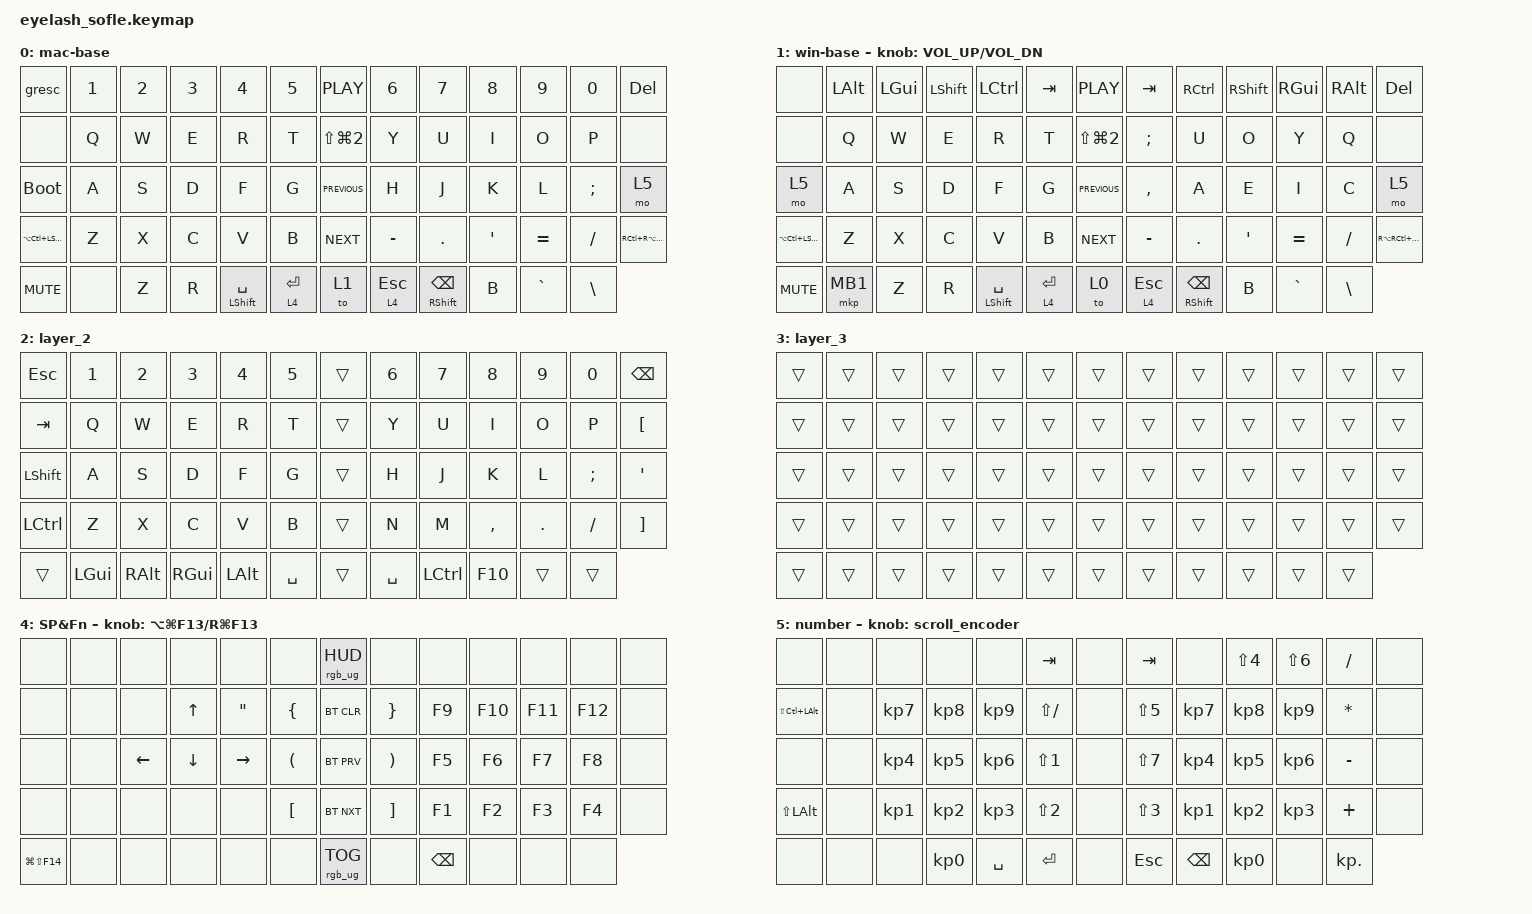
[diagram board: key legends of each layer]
#define ZMK_POINTING_DEFAULT_MOVE_VAL 1500  // default: 600
#define ZMK_POINTING_DEFAULT_SCRL_VAL 20    // default: 10

#include <dt-bindings/zmk/mouse.h>
#include <input/processors.dtsi>
#include <behaviors.dtsi>
#include <dt-bindings/zmk/bt.h>
#include <dt-bindings/zmk/keys.h>
#include <dt-bindings/zmk/pointing.h>
#include <dt-bindings/zmk/rgb.h>

/*

   &mmv_input_listener {
       input-processors = <&zip_xy_scaler 2 1>;
   };

   &msc_input_listener {
       input-processors = <&zip_xy_scaler 2 1>;
   };

 */

#define ZMK_MOUSE_DEFAULT_MOVE_VAL 1200  // 600
#define ZMK_MOUSE_DEFAULT_SCRL_VAL 20    // 10

/ {
    behaviors {
        mmv {
            acceleration-exponent = <1>;      // 1
            time-to-max-speed-ms = <900>;    // 40
            delay-ms = <0>;                   // 0
        };

        msc {
            acceleration-exponent = <1>;      // 0
            time-to-max-speed-ms = <400>;      // 500
            delay-ms = <0>;                   //   10
        };
    };

    scroll_encoder: scroll_encoder {
        compatible = "zmk,behavior-sensor-rotate";
        #sensor-binding-cells = <0>;
        bindings = <&msc SCRL_DOWN>, <&msc SCRL_UP>;

        tap-ms = <30>;
    };

    SandS: SandS {
        compatible = "zmk,behavior-hold-tap";
        label = "SANDS";
        bindings = <&kp>, <&kp>;

        #binding-cells = <2>;
        tapping-term-ms = <200>;
        flavor = "hold-preferred";
        retro-tap;
    };

    keymap {
        compatible = "zmk,keymap";

        layer_0 {
            bindings = <
&gresc             &kp NUMBER_1  &kp NUMBER_2  &kp NUMBER_3  &kp NUMBER_4             &kp NUMBER_5    &kp C_PLAY            &kp NUMBER_6  &kp NUMBER_7                  &kp NUMBER_8  &kp NUMBER_9  &kp N0         &kp DELETE
&none              &kp Q         &kp W         &kp E         &kp R                    &kp T           &kp LS(LG(NUMBER_2))  &kp Y         &kp U                         &kp I         &kp O         &kp P          &none
&bootloader        &kp A         &kp S         &kp D         &kp F                    &kp G           &kp C_PREVIOUS        &kp H         &kp J                         &kp K         &kp L         &kp SEMICOLON  &mo 5
&kp LA(LC(LSHFT))  &kp Z         &kp X         &kp C         &kp V                    &kp B           &kp C_NEXT            &kp MINUS     &kp PERIOD                    &kp SQT       &kp EQUAL     &kp FSLH       &kp RC(RA(RIGHT_SHIFT))
&kp C_MUTE         &none         &kp Z         &kp R         &SandS LEFT_SHIFT SPACE  &lt 4 ENTER     &to 1                 &lt 4 ESCAPE  &SandS RIGHT_SHIFT BACKSPACE  &kp B         &kp GRAVE     &kp BACKSLASH
            >;

            display-name = "mac-base";
        };

        layer_1 {
            display-name = "win-base";
            bindings = <
&none                   &kp LEFT_ALT  &kp LEFT_GUI  &kp LEFT_SHIFT  &kp LCTRL                &kp TAB        &kp C_PLAY            &kp TAB        &kp RCTRL                     &kp RIGHT_SHIFT  &kp RIGHT_GUI  &kp RIGHT_ALT  &kp DELETE
&none                   &kp Q         &kp W         &kp E           &kp R                    &kp T          &kp LS(LG(NUMBER_2))  &kp SEMICOLON  &kp U                         &kp O            &kp Y          &kp Q          &none
&mo 5                   &kp A         &kp S         &kp D           &kp F                    &kp G          &kp C_PREVIOUS        &kp COMMA      &kp A                         &kp E            &kp I          &kp C          &mo 5
&kp LA(LC(LEFT_SHIFT))  &kp Z         &kp X         &kp C           &kp V                    &kp B          &kp C_NEXT            &kp MINUS      &kp PERIOD                    &kp SQT          &kp EQUAL      &kp FSLH       &kp RA(RC(RIGHT_SHIFT))
&kp C_MUTE              &mkp MB1      &kp Z         &kp R           &SandS LEFT_SHIFT SPACE  &lt 4 ENTER    &to 0                 &lt 4 ESCAPE   &SandS RIGHT_SHIFT BACKSPACE  &kp B            &kp GRAVE      &kp BACKSLASH
            >;

            sensor-bindings = <&inc_dec_kp C_VOLUME_UP C_VOL_DN>;
        };

        layer_2 {
            bindings = <
&kp ESC    &kp N1    &kp N2    &kp N3    &kp N4    &kp N5       &trans  &kp N6     &kp N7     &kp N8     &kp N9   &kp N0    &kp BSPC
&kp TAB    &kp Q     &kp W     &kp E     &kp R     &kp T        &trans  &kp Y      &kp U      &kp I      &kp O    &kp P     &kp LBKT
&kp LSHFT  &kp A     &kp S     &kp D     &kp F     &kp G        &trans  &kp H      &kp J      &kp K      &kp L    &kp SEMI  &kp APOS
&kp LCTRL  &kp Z     &kp X     &kp C     &kp V     &kp B        &trans  &kp N      &kp M      &kp COMMA  &kp DOT  &kp FSLH  &kp RBKT
&trans     &kp LGUI  &kp RALT  &kp RGUI  &kp LALT  &kp SPACE    &trans  &kp SPACE  &kp LCTRL  &kp F10    &trans   &trans
            >;
        };

        layer_3 {
            bindings = <
&trans  &trans  &trans  &trans  &trans  &trans    &trans  &trans  &trans  &trans  &trans  &trans  &trans
&trans  &trans  &trans  &trans  &trans  &trans    &trans  &trans  &trans  &trans  &trans  &trans  &trans
&trans  &trans  &trans  &trans  &trans  &trans    &trans  &trans  &trans  &trans  &trans  &trans  &trans
&trans  &trans  &trans  &trans  &trans  &trans    &trans  &trans  &trans  &trans  &trans  &trans  &trans
&trans  &trans  &trans  &trans  &trans  &trans    &trans  &trans  &trans  &trans  &trans  &trans
            >;
        };

        layer_4 {
            bindings = <
&none            &none  &none     &none         &none              &none                   &rgb_ug RGB_HUD  &none                  &none          &none    &none    &none    &none
&none            &none  &none     &kp UP_ARROW  &kp DOUBLE_QUOTES  &kp LEFT_BRACE          &bt BT_CLR       &kp RIGHT_BRACE        &kp F9         &kp F10  &kp F11  &kp F12  &none
&none            &none  &kp LEFT  &kp DOWN      &kp RIGHT          &kp LEFT_PARENTHESIS    &bt BT_PRV       &kp RIGHT_PARENTHESIS  &kp F5         &kp F6   &kp F7   &kp F8   &none
&none            &none  &none     &none         &none              &kp LEFT_BRACKET        &bt BT_NXT       &kp RIGHT_BRACKET      &kp F1         &kp F2   &kp F3   &kp F4   &none
&kp LG(LS(F14))  &none  &none     &none         &none              &none                   &rgb_ug RGB_TOG  &none                  &kp BACKSPACE  &none    &none    &none
            >;

            sensor-bindings = <&inc_dec_kp LA(LG(F13)) RG(F13)>;
            label = "SP&Fn";
        };

        layer_5 {
            bindings = <
&none                 &none  &none            &none            &none            &kp TAB             &none  &kp TAB           &none            &kp LS(NUMBER_4)  &kp LS(NUMBER_6)  &kp SLASH     &none
&kp LS(LC(LEFT_ALT))  &none  &kp KP_NUMBER_7  &kp KP_NUMBER_8  &kp KP_NUMBER_9  &kp LS(SLASH)       &none  &kp LS(N5)        &kp KP_NUMBER_7  &kp KP_NUMBER_8   &kp KP_NUMBER_9   &kp ASTERISK  &none
&none                 &none  &kp KP_NUMBER_4  &kp KP_NUMBER_5  &kp KP_NUMBER_6  &kp LS(NUMBER_1)    &none  &kp LS(N7)        &kp KP_NUMBER_4  &kp KP_NUMBER_5   &kp KP_NUMBER_6   &kp MINUS     &none
&kp LS(LEFT_ALT)      &none  &kp KP_NUMBER_1  &kp KP_NUMBER_2  &kp KP_NUMBER_3  &kp LS(NUMBER_2)    &none  &kp LS(NUMBER_3)  &kp KP_NUMBER_1  &kp KP_NUMBER_2   &kp KP_NUMBER_3   &kp PLUS      &none
&none                 &none  &none            &kp KP_NUMBER_0  &kp SPACE        &kp RETURN          &none  &kp ESCAPE        &kp BACKSPACE    &kp KP_NUMBER_0   &none             &kp KP_DOT
            >;

            label = "number";
            sensor-bindings = <&scroll_encoder>;
        };
    };
};
